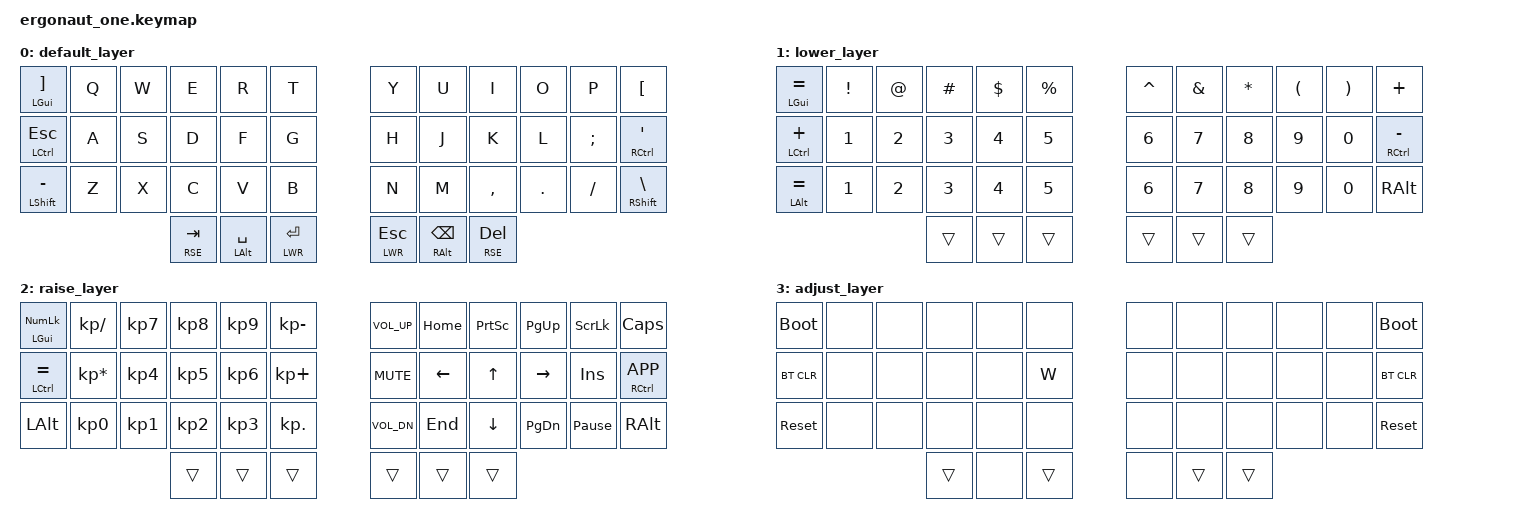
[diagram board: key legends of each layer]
#include <behaviors.dtsi>
#include <dt-bindings/zmk/bt.h>
#include <dt-bindings/zmk/keys.h>

#define DEF 0
#define LWR 1
#define RSE 2
#define ADJ 3

&lt { quick-tap-ms = <200>; };

&mt { quick-tap-ms = <200>; };

/ {
    conditional_layers {
        compatible = "zmk,conditional-layers";

        tri-layer {
            if-layers = <1 2>;
            then-layer = <3>;
        };
    };

    keymap {
        compatible = "zmk,keymap";

        default_layer {
            bindings = <
&mt LGUI RBKT         &kp Q  &kp W  &kp E        &kp R               &kp T           &kp Y        &kp U               &kp I        &kp O    &kp P     &kp LBKT
&mt LCTRL ESCAPE      &kp A  &kp S  &kp D        &kp F               &kp G           &kp H        &kp J               &kp K        &kp L    &kp SEMI  &mt RCTRL SQT
&mt LEFT_SHIFT MINUS  &kp Z  &kp X  &kp C        &kp V               &kp B           &kp N        &kp M               &kp COMMA    &kp DOT  &kp FSLH  &mt RIGHT_SHIFT BSLH
                                    &lt RSE TAB  &mt LEFT_ALT SPACE  &lt LWR RETURN  &lt LWR ESC  &mt RIGHT_ALT BSPC  &lt RSE DEL
            >;
        };

        lower_layer {
            bindings = <
&mt LGUI EQUAL  &kp EXCL      &kp AT        &kp HASH      &kp DLLR      &kp PRCNT  &kp CARET     &kp AMPS  &kp STAR  &kp LPAR  &kp RPAR  &kp PLUS
&mt LCTRL PLUS  &kp NUMBER_1  &kp NUMBER_2  &kp NUMBER_3  &kp NUMBER_4  &kp N5     &kp NUMBER_6  &kp N7    &kp N8    &kp N9    &kp N0    &mt RCTRL MINUS
&mt LALT EQUAL  &kp N1        &kp N2        &kp N3        &kp N4        &kp N5     &kp N6        &kp N7    &kp N8    &kp N9    &kp N0    &kp RALT
                                            &trans        &trans        &trans     &trans        &trans    &trans
            >;
        };

        raise_layer {
            bindings = <
&mt LGUI KP_NUM  &kp KP_SLASH     &kp KP_N7  &kp KP_N8  &kp KP_N9  &kp KP_MINUS  &kp C_VOL_UP  &kp HOME  &kp PSCRN  &kp PG_UP  &kp SLCK         &kp CLCK
&mt LCTRL EQUAL  &kp KP_MULTIPLY  &kp KP_N4  &kp KP_N5  &kp KP_N6  &kp KP_PLUS   &kp C_MUTE    &kp LEFT  &kp UP     &kp RIGHT  &kp INS          &mt RCTRL K_APP
&kp LALT         &kp KP_N0        &kp KP_N1  &kp KP_N2  &kp KP_N3  &kp KP_DOT    &kp C_VOL_DN  &kp END   &kp DOWN   &kp PG_DN  &kp PAUSE_BREAK  &kp RALT
                                             &trans     &trans     &trans        &trans        &trans    &trans
            >;
        };

        adjust_layer {
            bindings = <
&bootloader  &none  &none  &none   &none  &none   &none  &none   &none   &none  &none  &bootloader
&bt BT_CLR   &none  &none  &none   &none  &kp W   &none  &none   &none   &none  &none  &bt BT_CLR
&sys_reset   &none  &none  &none   &none  &none   &none  &none   &none   &none  &none  &sys_reset
                           &trans  &none  &trans  &none  &trans  &trans
            >;
        };
    };
};
